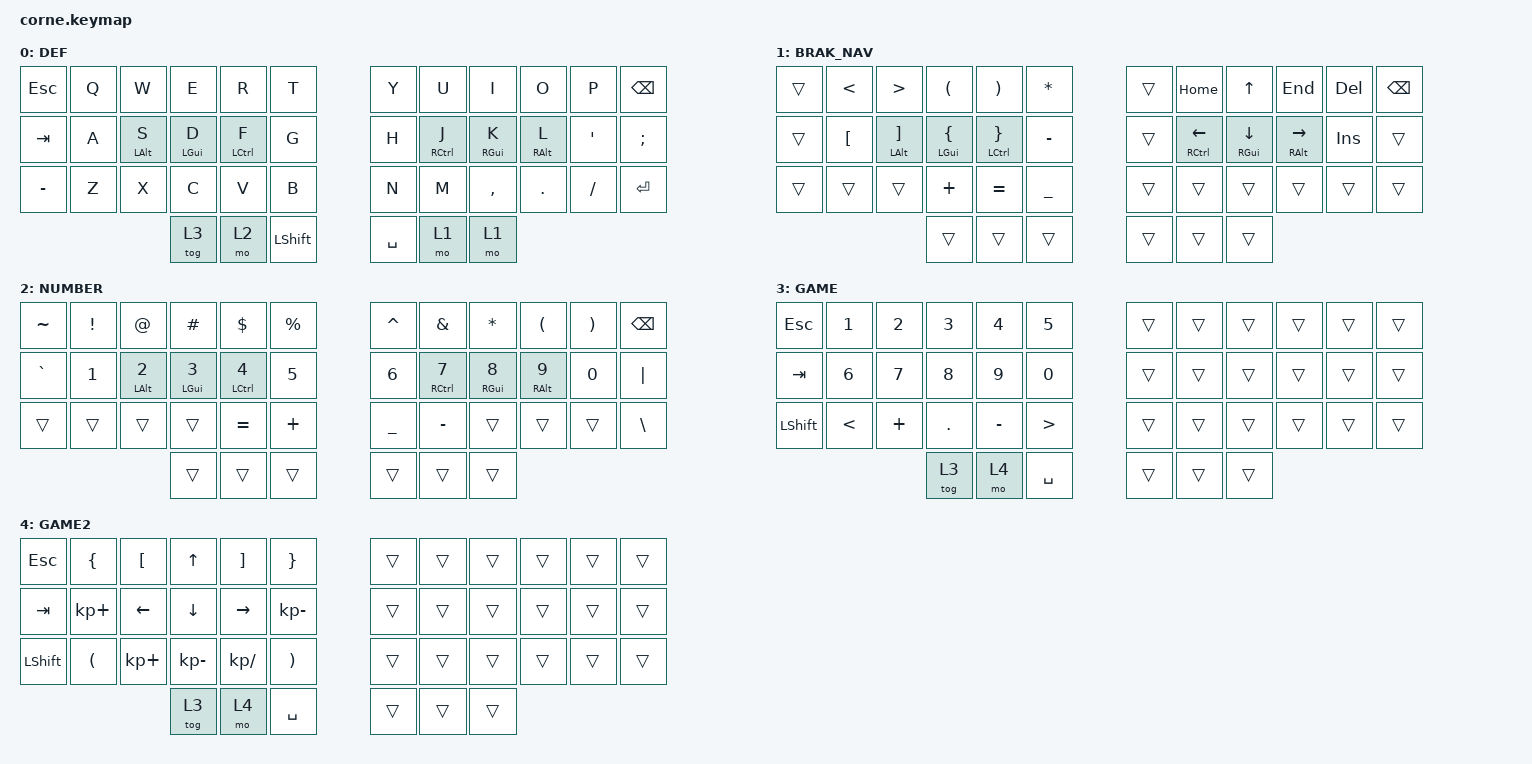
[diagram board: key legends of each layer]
/*
 * Copyright (c) 2020 The ZMK Contributors
 *
 * SPDX-License-Identifier: MIT
 */

#include <behaviors.dtsi>
#include <dt-bindings/zmk/rgb.h>
#include <dt-bindings/zmk/bt.h>

&mt {
    tapping-term-ms = <200>;
};

/* BEGIN PASTE FROM EDITOR */

#include <dt-bindings/zmk/keys.h>

/ {
    behaviors {
        hml: homerow_mods_left {
            compatible = "zmk,behavior-hold-tap";
            label = "HOMEROW_MODS_L";
            #binding-cells = <2>;
            tapping-term-ms = <200>;
            quick-tap-ms = <150>;
            flavor = "tap-preferred";
            bindings = <&kp>, <&kp>;
        };

        hmr: homerow_mods_right {
            compatible = "zmk,behavior-hold-tap";
            label = "HOMEROW_MODS_R";
            #binding-cells = <2>;
            tapping-term-ms = <200>;
            quick-tap-ms = <150>;
            flavor = "tap-preferred";
            bindings = <&kp>, <&kp>;
        };
    };


        keymap {
                compatible = "zmk,keymap";

                default_layer {
                        display-name = "DEF";

                        bindings = <
   &kp ESC   &kp Q &kp W        &kp E         &kp R         &kp T          &kp Y      &kp U         &kp I        &kp O        &kp P      &kp BSPC
   &kp TAB   &kp A &hml LALT S  &hml LGUI D   &hml LCTRL F  &kp G          &kp H      &hmr RCTRL J  &hmr RGUI K  &hmr RALT L  &kp SQT    &kp SEMI
   &kp MINUS &kp Z &kp X        &kp C         &kp V         &kp B          &kp N      &kp M         &kp COMMA    &kp DOT      &kp FSLH   &kp RET
                                &tog 3        &mo 2         &kp LSHFT      &kp SPACE  &mo 1         &mo 1
                        >;
                };
                lower_layer {
                        display-name = "BRAK_NAV";
                        bindings = <
&trans  &kp LESS_THAN     &kp GREATER_THAN             &kp LEFT_PARENTHESIS       &kp RIGHT_PARENTHESIS          &kp ASTERISK              &trans  &kp HOME            &kp UP          &kp END          &kp DEL  &kp BSPC
&trans  &kp LEFT_BRACKET  &hml LALT RIGHT_BRACKET      &hml LGUI LEFT_BRACE       &hml LCTRL RIGHT_BRACE         &kp MINUS                 &trans  &hmr RCTRL LEFT     &hmr RGUI DOWN  &hmr RALT RIGHT  &kp INS  &trans
&trans  &trans            &trans                       &kp PLUS                   &kp EQUAL                      &kp UNDER                 &trans  &trans              &trans          &trans           &trans   &trans
                                                       &trans                     &trans                         &trans                    &trans  &trans              &trans

                        >;
                };

                raise_layer {
                        display-name = "NUMBER";
                        bindings = <
&kp TILDE  &kp EXCL  &kp AT_SIGN   &kp POUND     &kp DOLLAR     &kp PERCENT          &kp CARET  &kp AMPERSAND  &kp ASTERISK  &kp LEFT_PARENTHESIS  &kp RIGHT_PARENTHESIS  &kp BSPC
&kp GRAVE  &kp N1    &hml LALT N2  &hml LGUI N3  &hml LCTRL N4  &kp N5               &kp N6     &hmr RCTRL N7  &hmr RGUI N8  &hmr RALT N9          &kp N0                 &kp PIPE
&trans     &trans    &trans        &trans        &kp EQUAL      &kp PLUS             &kp UNDER  &kp MINUS      &trans        &trans                &trans                 &kp BACKSLASH
                                   &trans        &trans         &trans               &trans     &trans         &trans
                        >;
                };

                game_layer {
                        display-name = "GAME";
                        bindings = <
        &kp ESC    &kp N1 &kp N2   &kp N3  &kp N4    &kp N5           &trans &trans &trans &trans &trans &trans
        &kp TAB    &kp N6 &kp N7   &kp N8  &kp N9    &kp N0           &trans &trans &trans &trans &trans &trans
        &kp LSHIFT &kp LT &kp PLUS &kp DOT &kp MINUS &kp GT           &trans &trans &trans &trans &trans &trans
                                &tog 3    &mo 4     &kp SPACE         &trans &trans &trans
                        >;
                };

                move_layer {
                        display-name = "GAME2";
                        bindings = <
        &kp ESC    &kp LEFT_BRACE        &kp LEFT_BRACKET   &kp UP       &kp RIGHT_BRACKET  &kp RIGHT_BRACE      &trans &trans &trans &trans &trans &trans
        &kp TAB    &kp KP_PLUS           &kp LEFT           &kp DOWN     &kp RIGHT          &kp KP_MINUS         &trans &trans &trans &trans &trans &trans
        &kp LSHIFT &kp LPAR              &kp KP_PLUS        &kp KP_MINUS &kp KP_SLASH       &kp RPAR             &trans &trans &trans &trans &trans &trans
                                                      &tog 3       &mo 4                   &kp SPACE            &trans &trans &trans
                        >;
                };
        };
};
